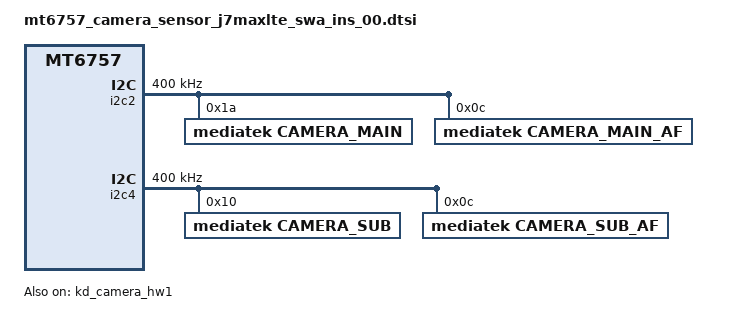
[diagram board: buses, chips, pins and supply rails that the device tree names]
/* Camera sensor dtsi file */

&i2c2 {
	#address-cells = <1>;
	#size-cells = <0>;
	clock-frequency = <400000>;
	mediatek,use-open-drain;
	camera_main@1a {
		compatible = "mediatek,camera_main";
		reg = <0x1a>;
		status = "okay";
	};

	camera_main_af@0c {
		compatible = "mediatek,camera_main_af";
		reg = <0x0c>;
		status = "okay";
	};

};

&i2c4 {
	#address-cells = <1>;
	#size-cells = <0>;
	clock-frequency = <400000>;
	mediatek,use-open-drain;
	camera_sub@10 {
		compatible = "mediatek,camera_sub";
		reg = <0x10>;
		status = "okay";
	};

	camera_sub_af@0c {
		compatible = "mediatek,camera_sub_af";
		reg = <0x0c>;
		status = "okay";
	};

};

&kd_camera_hw1 {
	vcama-supply = <&mt_pmic_vcama1_ldo_reg>;
	vcama_main2-supply = <&mt_pmic_vcama2_ldo_reg>;
	vcama_sub-supply = <&mt_pmic_vcama2_ldo_reg>;
	vcamd-supply = <&mt_pmic_vcamd1_ldo_reg>;
	vcamd_main2-supply = <&mt_pmic_vcamd2_ldo_reg>;
	vcamd_sub-supply = <&mt_pmic_vcamd2_ldo_reg>;
	vcamio-supply = <&mt_pmic_vcamio_ldo_reg>;
	vcamio_main2-supply = <&mt_pmic_vcamio_ldo_reg>;
	vcamio_sub-supply = <&mt_pmic_vcamio_ldo_reg>;
	vcamaf-supply = <&mt_pmic_vldo28_ldo_reg>;
	vcamaf_main2-supply = <&mt_pmic_vldo28_ldo_reg>;
	vcamaf_sub-supply = <&mt_pmic_vldo28_ldo_reg>;
	status = "okay";
};

/* CAMERA GPIO standardization */
&pio {
	camera_pins_cam0_rst0: cam0@0 {
		pins_cmd_dat {
			pins = <PINMUX_GPIO110__FUNC_GPIO110>;
			slew-rate = <1>; /*direction 0:in, 1:out*/
			bias-pull-down = <11>;
			output-low;/*direction out used only. output_low or high*/
		};
	};
	camera_pins_cam0_rst1: cam0@1 {
		pins_cmd_dat {
			pins = <PINMUX_GPIO110__FUNC_GPIO110>;
			slew-rate = <1>;
			bias-pull-down = <11>;
			output-high;
		};
	};
	camera_pins_cam1_rst0: cam1@0 {
		pins_cmd_dat {
			pins = <PINMUX_GPIO111__FUNC_GPIO111>;
			slew-rate = <1>; /*direction 0:in, 1:out*/
			bias-pull-down = <11>;
			output-low;/*direction out used only. output_low or high*/
		};
	};
	camera_pins_cam1_rst1: cam1@1 {
		pins_cmd_dat {
			pins = <PINMUX_GPIO111__FUNC_GPIO111>;
			slew-rate = <1>;
			bias-pull-down = <11>;
			output-high;
		};
	};
	camera_pins_cam2_rst0: cam2@0 {
		pins_cmd_dat {
			pins = <PINMUX_GPIO90__FUNC_GPIO90>;
			slew-rate = <1>;
			output-low;
		};
	};
	camera_pins_cam2_rst1: cam2@1 {
		pins_cmd_dat {
			pins = <PINMUX_GPIO90__FUNC_GPIO90>;
			slew-rate = <1>;
			output-high;
		};
	};
	camera_pins_cam2_pnd0: cam2@3 {
		pins_cmd_dat {
			pins = <PINMUX_GPIO89__FUNC_GPIO89>;
			slew-rate = <1>;
			output-low;
		};
	};
	camera_pins_cam2_pnd1: cam2@4 {
		pins_cmd_dat {
			pins = <PINMUX_GPIO89__FUNC_GPIO89>;
			slew-rate = <1>;
			output-high;
		};
	};
	camera_pins_mcam_clk: cam_clk@0 {
		pins_cmd_dat {
			pins = <PINMUX_GPIO161__FUNC_CMMCLK0>;
			drive-strength = <0>;	/* 2 MA */
			bias-disable;
		};
		};
	camera_pins_vtcam_clk: cam_clk@1 {
		pins_cmd_dat {
			pins = <PINMUX_GPIO109__FUNC_CMMCLK1>;
			drive-strength = <0>;	/* 2 MA */
			bias-disable;
	};
	};
	camera_pins_default: camdefault {
		/* CAM_TORCH_EN */
		pins_cmd_dat {
			pins = <PINMUX_GPIO116__FUNC_GPIO116>;
			slew-rate = <1>;
			bias-pull-down = <11>;
			output-low;
		};
	};
};


&kd_camera_hw1 {
	pinctrl-names = "default",
			"cam0_rst0", "cam0_rst1", "cam1_rst0", "cam1_rst1",
			"cam2_rst0", "cam2_rst1", "cam2_pnd0", "cam2_pnd1",
			"mcam_clk", "vtcam_clk"; 			
	pinctrl-0 = <&camera_pins_default>;
	pinctrl-1 = <&camera_pins_cam0_rst0>;
	pinctrl-2 = <&camera_pins_cam0_rst1>;
	pinctrl-3 = <&camera_pins_cam1_rst0>;
	pinctrl-4 = <&camera_pins_cam1_rst1>;
	pinctrl-5 = <&camera_pins_cam2_rst0>;
	pinctrl-6 = <&camera_pins_cam2_rst1>;
	pinctrl-7 = <&camera_pins_cam2_pnd0>;
	pinctrl-8 = <&camera_pins_cam2_pnd1>;
	pinctrl-9 = <&camera_pins_mcam_clk>;
	pinctrl-10 = <&camera_pins_vtcam_clk>;
	status = "okay";
};
/* CAMERA GPIO end */

